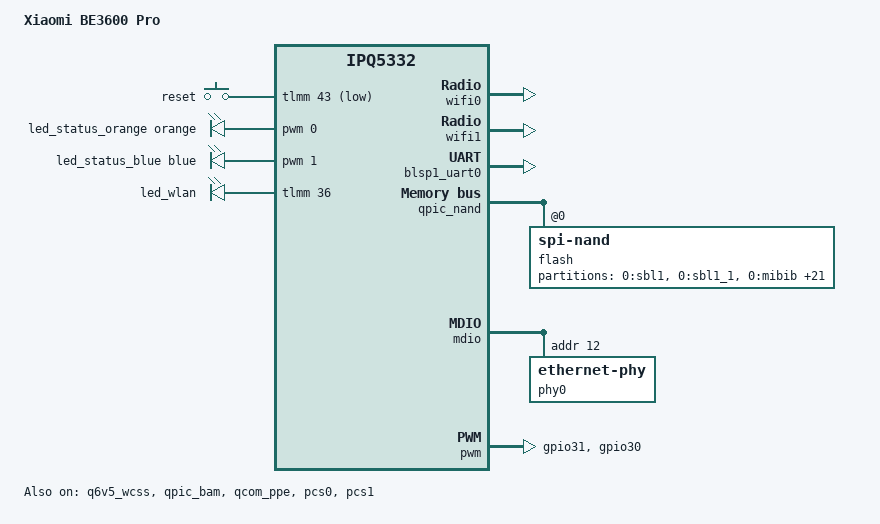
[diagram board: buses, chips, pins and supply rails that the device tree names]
// SPDX-License-Identifier: (GPL-2.0-or-later OR MIT)
/dts-v1/;

#include <arm64/qcom/ipq5332.dtsi>
#include <dt-bindings/gpio/gpio.h>
#include <dt-bindings/input/input.h>
#include <dt-bindings/leds/common.h>

/ {
	model = "Xiaomi BE3600 Pro";
	/* FIXME: "xiaomi,rn01" is the internal codename seen in the vendor DT's
	 * root compatible string. Confirm this is actually the compatible OpenWrt
	 * wants to ship (cf. naming used for other Xiaomi boards, e.g.
	 * "xiaomi,redmi-ax5400") before this lands anywhere upstream.
	 */
	compatible = "xiaomi,rn01", "qcom,ipq5332";

	aliases {
		serial0 = &blsp1_uart0;
	};

	chosen {
		bootargs = "console=ttyMSM0,115200n8";
		/*
		 * Xiaomi's u-boot sets "ubi.mtd=rootfs_1 root=mtd:ubi_rootfs
		 * rootfstype=squashfs cnss2.enable_mlo_support=1 rootwait" --
		 * "rootfs_1" is the vendor's B slot (override to OpenWrt's own
		 * "rootfs" volume), and "root=mtd:ubi_rootfs" is the vendor
		 * QSDK kernel's own non-mainline root= convention (confirmed
		 * live: mainline's do_mounts.c has no "mtd:" root device
		 * resolver at all -- boots with "Can't lookup blockdev" and
		 * panics). Mainline's own convention for a UBI-block-backed
		 * squashfs root, matching every other OpenWrt ipq5018/ipq50xx
		 * Xiaomi board (e.g. xiaomi_ax6000), is "root=/dev/ubiblockN_M"
		 * where M is the volume's index within the UBI device --
		 * "ubi_rootfs" is volume index 1 here (0 is "kernel"). The
		 * ubiblockN_M device node only gets created if explicitly
		 * requested via "ubi.block=N,M" (or the volume name) --
		 * confirmed live: without it, boot hangs forever on "Waiting
		 * for root device /dev/ubiblock0_1..." since nothing ever
		 * creates that node.
		 */
		bootargs-append = " ubi.mtd=rootfs ubi.block=0,ubi_rootfs root=/dev/ubiblock0_1 rootfstype=squashfs rootwait";
		stdout-path = "serial0:115200n8";
	};

	keys {
		compatible = "gpio-keys";

		pinctrl-0 = <&button_pins>;
		pinctrl-names = "default";

		button-reset {
			label = "reset";
			linux,code = <KEY_RESTART>;
			gpios = <&tlmm 43 GPIO_ACTIVE_LOW>;
			debounce-interval = <60>;
		};
	};

	/*
	 * Vendor DT models the status indicator as a single custom "pwm-rgb"
	 * node (soc/pwm-rgb) with two channels, group1/orange and
	 * group1/blue -- a bi-color LED, not a true 3-channel RGB LED and not
	 * a single white LED. Both channels are exposed here as standard
	 * "pwm-leds" children, reusing the PWM pin assignment (pwm0/pwm1 on
	 * gpio30/gpio31) already confirmed against the vendor's pwm_pinmux.
	 */
	pwmleds {
		compatible = "pwm-leds";

		led_status_orange: led-0 {
			function = LED_FUNCTION_STATUS;
			color = <LED_COLOR_ID_ORANGE>;
			pwms = <&pwm 0 1000000 0>;
			max-brightness = <255>;
		};

		led_status_blue: led-1 {
			function = LED_FUNCTION_STATUS;
			color = <LED_COLOR_ID_BLUE>;
			pwms = <&pwm 1 1000000 0>;
			max-brightness = <255>;
		};
	};

	/*
	 * Separate from the pwm-rgb status LED above: the vendor DT's main
	 * wifi radio node (soc/wifi@c0000000, compatible "qcom,ipq5332-wifi")
	 * carries its own "led-gpio" property for a WLAN activity indicator,
	 * driven directly off a TLMM GPIO rather than through the PWM block.
	 *
	 * Derived from the vendor DT: led-gpio = <0x0a 0x24 0x00>, where
	 * phandle 0x0a resolves to soc/pinctrl@1000000 (the tlmm gpio
	 * controller, "phandle = <0x0a>"), pin 0x24 = GPIO 36, flags 0x00 =
	 * active-high. Confirmed via /sys/firmware/devicetree/base on the
	 * live device (wifi@c0000000/led-gpio, independent of pwm-rgb).
	 */
	gpio-leds {
		compatible = "gpio-leds";

		led_wlan: led-2 {
			function = LED_FUNCTION_WLAN;
			gpios = <&tlmm 36 GPIO_ACTIVE_HIGH>;
		};
	};
};

/*
 * ipq5332.dtsi deliberately leaves xo_board's "clock-frequency" unset
 * (unlike cmn_pll_nss_*_clk, which hardcode a value) -- every real board
 * dts is expected to supply it. Missing this meant gcc_uniphy_sys_clk_src
 * (whose only parent is xo_board) could never compute a non-zero rate no
 * matter what assigned-clocks/clk_set_rate() did: recalc_rate() multiplies
 * by the parent rate, so parent=0 forces the result to 0 regardless of a
 * "successful" divider write -- confirmed live: clk_set_rate() returned 0
 * (success) but clk_get_rate() immediately after still read back 0.
 * Confirmed missing on this board by comparing against Qualcomm's own
 * reference boards (ipq5332-rdp-common.dtsi) and the other real in-tree
 * ipq5332 board (ipq5332-u7-pro-xgs.dts), both of which set this to 24MHz.
 */
&xo_board {
	clock-frequency = <24000000>;
};

/*
 * Same omission as xo_board above, and the same consequence: ipq5332.dtsi
 * declares sleep_clk as a "fixed-clock" with no "clock-frequency", and
 * _of_fixed_clk_setup() refuses to register such a clock at all, so every
 * descendant is left an orphan with rate 0. The PPE node itself consumes
 * one (gcc GCC_IM_SLEEP_CLK, clock-name "gcc_im_sleep"), and vendor's own
 * switch node lists gcc_im_sleep_clk too. Vendor's DT sets 32 kHz
 * (clock-frequency = <0x7d00>), as does ipq5332-u7-pro-xgs.dts.
 */
&sleep_clk {
	clock-frequency = <32000>;
};

/*
 * WiFi: q6v5_wcss / wifi0 (QCA5332, 2.4 GHz) / wifi1 (QCN6432, 5 GHz) and
 * their smp2p/memory-region plumbing are wired up in ipq5332.dtsi by the
 * "arm64: dts: qcom: ipq5332: add wcss multipd wifi" kernel patch. This
 * board file only needs to enable the two radio nodes and give each a
 * calibration-variant tag.
 *
 * Calibration data: ath12k's IPQ5332/hw1.0 hw_params (see
 * ATH12K_HW_IPQ5332_HW10 in ath12k's hw.c) expects a 256 KiB board-2.bin
 * with a 128 KiB cal data offset. Generic reference board-2.bin files for
 * this hardware generation already exist upstream in the linux-firmware
 * ath12k staging tree (IPQ5332/hw1.0 for wifi0, QCN6432/hw1.0 for wifi1);
 * those are used as the initial calibration source here. RN01-specific
 * calibration (extracted from the vendor's own board data / "0:art"
 * partition) is left as future work -- see the "0:art" partition on
 * &qpic_nand below, which almost certainly holds it on this board.
 */
&q6v5_wcss {
	status = "okay";
};

&wifi0 {
	qcom,calibration-variant = "RN01";
	status = "okay";
};

&wifi1 {
	qcom,calibration-variant = "RN01";
	status = "okay";
};

&blsp1_uart0 {
	pinctrl-0 = <&serial_0_pins>;
	pinctrl-names = "default";
	status = "okay";
};

/*
 * RN01's boot storage is a Winbond W25N01GWZEIG SPI NAND chip (128 MiB,
 * SLC, 1.8V), confirmed directly from a live vendor dmesg: "Manufacturer
 * ID: 0xef, Chip ID: 0xba" / "Winbond W25N01GWZEIG SPI NAND 1G 1.8V", and
 * corroborated by the vendor DT's own pinmux node for this controller
 * being named "qspi_nand_pins" (qspi_clk/qspi_cs) -- i.e. genuine QSPI
 * signals, not an 8-bit parallel NAND bus.
 *
 * This directly contradicts an earlier assumption made from the vendor
 * DT's "qcom,ipq5332-nand" compatible string alone (without the "-snand"
 * suffix mainline uses for the serial flavour), which led to wrongly
 * treating this as raw parallel NAND and adding a standalone
 * qpic_nand_raw/nand@79b0000 node + qcom_nandc.c raw-NAND driver compat
 * entry (former kernel patches 0380/0382, now removed). In fact:
 *  - Mainline ipq5332.dtsi already describes this exact controller as
 *    qpic_nand: spi@79b0000, compatible "qcom,ipq5332-snand" -- disabled
 *    by default, needing only status="okay" and a child flash node, no
 *    new devicetree node or driver patch required.
 *  - The Winbond W25N01GW (ID 0xba/0x21) is natively supported by
 *    mainline's generic drivers/mtd/nand/spi/winbond.c.
 *  - qcom,ipq5332-nand (without "-snand") was in fact never added to
 *    mainline's raw-NAND qcom,nandc.yaml compatible list for IPQ5332 at
 *    all -- the vendor's QSDK downstream kernel evidently reuses that
 *    compatible name for its own unified NAND driver that autodetects
 *    chip type at runtime, unrelated to mainline's raw/serial split.
 *
 * qpic_bam (the QPIC block's own dedicated BAM at 0x07984000, separate
 * from the shared BLSP1 BAM used by the on-chip UART/SPI/I2C peripherals)
 * already exists in mainline ipq5332.dtsi too, disabled by default.
 */
&qpic_bam {
	status = "okay";
};

&qpic_nand {
	status = "okay";

	flash@0 {
		compatible = "spi-nand";
		reg = <0>;
		#address-cells = <1>;
		#size-cells = <1>;
		nand-ecc-engine = <&qpic_nand>;
		nand-ecc-strength = <4>;
		nand-ecc-step-size = <512>;

		partitions {
			compatible = "fixed-partitions";
			#address-cells = <1>;
			#size-cells = <1>;

			partition@0 {
				label = "0:sbl1";
				reg = <0x0 0x100000>;
				read-only;
			};

			partition@100000 {
				label = "0:sbl1_1";
				reg = <0x100000 0x100000>;
				read-only;
			};

			partition@200000 {
				label = "0:mibib";
				reg = <0x200000 0x100000>;
				read-only;
			};

			partition@300000 {
				label = "0:bootconfig";
				reg = <0x300000 0x80000>;
				read-only;
			};

			partition@380000 {
				label = "0:bootconfig1";
				reg = <0x380000 0x80000>;
				read-only;
			};

			partition@400000 {
				label = "0:qsee";
				reg = <0x400000 0x200000>;
				read-only;
			};

			partition@600000 {
				label = "0:qsee_1";
				reg = <0x600000 0x200000>;
				read-only;
			};

			partition@800000 {
				label = "0:devcfg";
				reg = <0x800000 0x80000>;
				read-only;
			};

			partition@880000 {
				label = "0:devcfg_1";
				reg = <0x880000 0x80000>;
				read-only;
			};

			partition@900000 {
				label = "0:tme";
				reg = <0x900000 0x80000>;
				read-only;
			};

			partition@980000 {
				label = "0:tme_1";
				reg = <0x980000 0x80000>;
				read-only;
			};

			partition@a00000 {
				label = "0:cdt";
				reg = <0xa00000 0x80000>;
				read-only;
			};

			partition@a80000 {
				label = "0:cdt_1";
				reg = <0xa80000 0x80000>;
				read-only;
			};

			partition@b00000 {
				label = "0:appsblenv";
				reg = <0xb00000 0x80000>;
			};

			partition@b80000 {
				label = "0:appsbl";
				reg = <0xb80000 0x100000>;
				read-only;
			};

			partition@c80000 {
				label = "0:appsbl_1";
				reg = <0xc80000 0x100000>;
				read-only;
			};

			partition@d80000 {
				label = "0:training";
				reg = <0xd80000 0x80000>;
				read-only;
			};

			partition@e00000 {
				label = "0:art";
				reg = <0xe00000 0x200000>;
				read-only;

				/*
				 * MAC addresses live at the very start of "0:art",
				 * two consecutive 6-byte entries, matching the
				 * layout the same-vendor ipq5018 boards use
				 * (cf. ipq5018-ax6000.dts's macaddr@0/macaddr@6).
				 *
				 * Which entry belongs to which port was confirmed
				 * on real hardware rather than assumed: the first
				 * 16 bytes of /dev/mtdblock17 were read out and
				 * compared against the vendor devicetree's own
				 * per-port assignment. Offset 0x0 matches the MAC
				 * vendor gives "dp2" (qcom,id = <2>, the port
				 * carrying qcom,phy-mdio-addr = <0x0c>, i.e. WAN),
				 * and offset 0x6 matches the one vendor gives
				 * "dp1" (qcom,id = <1>, no phy, i.e. the YT9215S
				 * switch uplink / LAN). Note this is the opposite
				 * order from ipq5018-ax6000.dts, where offset 0 is
				 * the LAN MAC -- so it cannot be assumed, and was
				 * measured.
				 *
				 * A third MAC follows at offset 0xc (presumably
				 * WiFi); it is left undeclared until a radio
				 * actually needs it.
				 */
				nvmem-layout {
					compatible = "fixed-layout";
					#address-cells = <1>;
					#size-cells = <1>;

					mac_addr_wan: macaddr@0 {
						reg = <0x0 0x6>;
					};

					mac_addr_lan: macaddr@6 {
						reg = <0x6 0x6>;
					};
				};
			};

			partition@1000000 {
				label = "0:license";
				reg = <0x1000000 0x40000>;
				read-only;
			};

			partition@1040000 {
				label = "rootfs";
				reg = <0x1040000 0x2a00000>;
			};

			partition@3a40000 {
				label = "rootfs_1";
				reg = <0x3a40000 0x2a00000>;
			};

			partition@6440000 {
				label = "bdata";
				reg = <0x6440000 0x80000>;
			};

			partition@64c0000 {
				label = "crash";
				reg = <0x64c0000 0x80000>;
			};

			partition@6540000 {
				label = "overlay";
				reg = <0x6540000 0x1ac0000>;
			};
		};
	};
};

&mdio {
	status = "okay";

	/*
	 * RN01/IPQ5332 finding (Opus second-opinion consult, confirmed via
	 * /sys/kernel/debug/gpio hardware register readback, not the
	 * pinctrl-msm software-bookkeeping pinmux-pins file which always
	 * matches regardless): on vendor's *working* kernel, gpio25 reads
	 * back func0 (=gpio, the TLMM convention where function index 0 is
	 * always plain GPIO) -- NOT mdc0. Vendor's own driver claims gpio25
	 * as a plain GPIO for the PHY reset line and *never* switches it
	 * back to the mdc0 alt-function. So the real, physically-wired MDIO
	 * bus on this board is mdc1/mdio1 (gpio27/28) -- mdio0_pins
	 * (gpio25/26 as mdc0/mdio0) is reference-design copy-paste that this
	 * board never actually uses for MDIO signalling. The earlier
	 * pulse-then-revert-to-"default" approach (§10.13,
	 * 0393-net-mdio-ipq4019-add-optional-pinmux-shared-phy-reset.patch)
	 * was necessarily wrong: reverting to "default" re-attaches gpio25
	 * to mdc0, which then clocks straight into the PHY's reset pin on
	 * every MDIO transaction. Fix: hold gpio25 as a plain GPIO
	 * permanently via the mdio0_pins override below (mirroring vendor's
	 * measured "out high" / 4mA / pull-up), never touch it again.
	 */

	/*
	 * Both real PHYs sit on this bus (vendor DT: ethernet-phy@0 reg=0x0c,
	 * ethernet-phy@1 reg=0x07). pinctrl-0 is left at the ipq5332.dtsi
	 * default (mdio0_pins + mdio1_pins), which already covers both.
	 *
	 * Tried the vendor DT's own "phy-reset-gpio = <&tlmm 25 0>" (gpio25)
	 * as mainline's *per-child* "reset-gpios" (on the ethernet-phy@c
	 * node) first -- confirmed live this is wrong: gpio25 is also muxed
	 * to the mdc0 (MDIO clock 0) function in mdio0_pins, and that
	 * per-child path (of_mdiobus_register_phy(), in drivers/net/mdio/
	 * of_mdio.c) grabs the pin as a raw GPIO before pinctrl can apply the
	 * mdc0 default state, breaking MDIO bus registration entirely ("pin
	 * GPIO_25 already requested by 90000.mdio; cannot claim for
	 * 1000000.pinctrl", "Cannot register MDIO bus!"). Reverted at the
	 * time.
	 *
	 * Since then, confirmed via a saved *vendor Linux* UART log (not just
	 * U-Boot) that vendor's own qca-mdio driver does "Reset PHY by GPIO
	 * 484" (= this same &tlmm 25 pin) on every single boot as a normal
	 * part of bring-up -- so a GPIO reset pulse is genuinely needed by
	 * Linux, not just cosmetic; U-Boot's plain ID read succeeding without
	 * it doesn't mean a full soft-reset handshake doesn't need it too.
	 *
	 * A working, mainline-clean fix for this exact pin-sharing conflict
	 * (pinctrl_select_state() to a temporary "gpio" state around the
	 * pulse, avoiding pinctrl-msm.c's `.strict` ownership check entirely)
	 * was written and confirmed live -- see the not-yet-committed
	 * `0393-net-mdio-ipq4019-add-optional-pinmux-shared-phy-reset.patch`
	 * kept alongside this tree. It's held back from this commit because,
	 * even with the mechanism working exactly as designed (pinctrl state
	 * switches cleanly, GPIO pulsed, no ownership conflict), it does not
	 * actually fix Ethernet: `phy_poll_reset failed: -110` still happens
	 * identically. See PORTING.md §10.13/§10.14 for the full
	 * investigation, including the (also real, but likewise insufficient
	 * on its own) `xo_board` clock fix below. Re-add both the patch and
	 * this devicetree wiring together once the actual root cause is
	 * found and one of them turns out to matter.
	 */

	/*
	 * phy0 (WAN, 2500base-x) is confirmed to be a Qualcomm QCA8081 --
	 * IEEE PHY ID 0x004dd101, matching U-Boot's own "PHY ID1: 0x4d /
	 * PHY ID2: 0xd101" -- and PHY_ID_MATCH_EXACT(0x004dd101) is right
	 * there in mainline's drivers/net/phy/qcom/qca808x.c. Explicit
	 * standard-IEEE compatible string added to match, mirroring the
	 * working ipq5018-ax6000.dts qca8081 node -- without it, phylib's
	 * plain Clause-22 MDIO scan finds nothing at this address.
	 */
	phy0: ethernet-phy@c {
		/*
		 * Forced-compatible override removed for this test: a clean
		 * generic Clause-22 MDIO scan finding the PHY here is the
		 * unambiguous pass signal for the gpio25-as-permanent-GPIO fix.
		 */
		reg = <0x0c>;
	};

};

/*
 * Override ipq5332.dtsi's mdio0_pins: hold gpio25 as a plain GPIO
 * (not mdc0) permanently, matching vendor's measured hardware state
 * exactly (func0/4mA/pull-up). gpio26 stays the mdio0 data line but at
 * vendor's measured 4mA (was the dtsi default of 8mA).
 */
&mdio0_pins {
	mux_0 {
		function = "gpio";
		drive-strength = <4>;
		bias-pull-up;
	};

	mux_1 {
		drive-strength = <4>;
	};
};

/*
 * Override ipq5332.dtsi's mdio1_pins to match vendor's measured
 * electrical values on the real MDIO bus (gpio27/28): 4mA instead of the
 * dtsi default 8mA, and mdc1 (gpio27) pulled up instead of bias-disable.
 */
&mdio1_pins {
	mux_0 {
		drive-strength = <4>;
		bias-pull-up;
	};

	mux_1 {
		drive-strength = <4>;
	};
};

&qcom_ppe {
	status = "okay";

	ethernet-ports {
		#address-cells = <1>;
		#size-cells = <0>;

		/*
		 * LAN: the YT9215S switch uplink. Vendor's own DT puts the
		 * PHY-less, forced-2500M link on PPE port 1
		 * (qcom,port_phyinfo/port@0: port_id=<1>, forced-speed=<0x9c4>,
		 * forced-duplex=<1>, and no phy_address), and marks port 1 as
		 * LAN (switch_lan_bmp=<0x02> = BIT(1)). Both uniphys are set to
		 * the same mac_mode (switch_mac_mode = switch_mac_mode1 =
		 * <0x0c>), so both links run at the same 2.5G rate -- hence
		 * 2500base-x with a 2500M fixed-link, not sgmii/1000M.
		 */
		port@1 {
			reg = <1>;
			phy-mode = "2500base-x";
			label = "lan";
			pcs-handle = <&pcs0_ch0>;
			nvmem-cells = <&mac_addr_lan 0>;
			nvmem-cell-names = "mac-address";
			clocks = <&nsscc NSS_CC_PORT1_MAC_CLK>,
				 <&nsscc NSS_CC_PORT1_RX_CLK>,
				 <&nsscc NSS_CC_PORT1_TX_CLK>;
			clock-names = "mac",
				      "rx",
				      "tx";
			resets = <&nsscc NSS_CC_PORT1_MAC_CLK_ARES>,
				 <&nsscc NSS_CC_PORT1_RX_CLK_ARES>,
				 <&nsscc NSS_CC_PORT1_TX_CLK_ARES>;
			reset-names = "mac",
				      "rx",
				      "tx";

			fixed-link {
				speed = <2500>;
				full-duplex;
			};
		};

		/*
		 * WAN: the QCA8081 at mdio address 0x0c. Vendor's DT attaches
		 * it to PPE port 2, not port 1 (qcom,port_phyinfo/port@1:
		 * port_id=<2>, phy_address=<0x0c>, sec_phy_address=<0x07>), and
		 * marks port 2 as WAN (switch_wan_bmp=<0x04> = BIT(2)). The
		 * vendor's nss-dp netdevs agree: dp2 (qcom,id=<2>) is the one
		 * carrying qcom,phy-mdio-addr=<0x0c> and qcom,link-poll=<1>,
		 * while dp1 (qcom,id=<1>) has no phy and no link polling.
		 *
		 * Note the device at mdio address 0x07 is not a plain PHY --
		 * confirmed live via U-Boot (mii read 0x7 0/2/3 all return
		 * 0xffff, not a valid Clause-22 response): it is the Motorcomm
		 * YT9215S managed switch ("YT9215S init done" in every boot's
		 * U-Boot log; vendor kallsyms show a dedicated yt_switch.ko with
		 * its own miwifi_mdio_read/write). Vendor lists it here only as
		 * sec_phy_address; mainline has no driver for it, so it is left
		 * out and the switch uplink is described by port@1's fixed-link.
		 */
		port@2 {
			reg = <2>;
			phy-mode = "2500base-x";
			label = "wan";
			phy-handle = <&phy0>;
			pcs-handle = <&pcs1_ch0>;
			nvmem-cells = <&mac_addr_wan 0>;
			nvmem-cell-names = "mac-address";
			clocks = <&nsscc NSS_CC_PORT2_MAC_CLK>,
				 <&nsscc NSS_CC_PORT2_RX_CLK>,
				 <&nsscc NSS_CC_PORT2_TX_CLK>;
			clock-names = "mac",
				      "rx",
				      "tx";
			resets = <&nsscc NSS_CC_PORT2_MAC_CLK_ARES>,
				 <&nsscc NSS_CC_PORT2_RX_CLK_ARES>,
				 <&nsscc NSS_CC_PORT2_TX_CLK_ARES>;
			reset-names = "mac",
				      "rx",
				      "tx";
		};
	};
};

/*
 * gcc_uniphy_sys_clk_src (the shared parent of GCC_UNIPHY0/1_SYS_CLK,
 * which pcs0/pcs1 consume below) is a clk_rcg2 with a single-entry
 * frequency table (24MHz off XO) -- it does not self-initialize, and
 * nothing else assigns it a rate. Confirmed live via clk_rate debugfs
 * (not just clk_summary, which mis-renders in the wrapped serial
 * terminal): both uniphy0_sys_clk and uniphy1_sys_clk read enabled but
 * stuck at rate=0. Two placements tried (on &gcc itself, then here on
 * pcs0/pcs1), neither changed the readback. Traced why: of_clk_set_defaults()
 * IS reached both ways (confirmed by reading drivers/base/platform.c and
 * drivers/clk/clk-conf.c live in the pinned 6.18.44 tree -- the
 * clk_supplier=false self-reference skip in __set_clk_rates() only
 * triggers when the *assigned-clocks target itself* is the same node the
 * property lives on, which isn't our case here), so the no-op is still
 * unexplained. Likely a red herring for the actual PHY problem anyway:
 * pcs-qcom-ipq9574.c's own probe only does devm_clk_get_enabled() on
 * "sys"/"ahb" (gate, no rate-set), and its real per-link rx/tx rate-setting
 * (ipq_pcs_mii_clk_set_rate(), added by the 0371 patch) is a completely
 * separate mechanism keyed off negotiated link speed, not this clock.
 * Left in place since it's harmless, but not expected to matter.
 */
&pcs0 {
	status = "okay";
	assigned-clocks = <&gcc GCC_UNIPHY_SYS_CLK_SRC>;
	assigned-clock-rates = <24000000>;
};

&pcs1 {
	status = "okay";
	assigned-clocks = <&gcc GCC_UNIPHY_SYS_CLK_SRC>;
	assigned-clock-rates = <24000000>;
};

&pwm {
	pinctrl-0 = <&pwm_pins>;
	pinctrl-names = "default";
	status = "okay";
};

&tlmm {
	button_pins: button-state {
		reset-pins {
			pins = "gpio43";
			function = "gpio";
			drive-strength = <8>;
			bias-pull-up;
		};
	};

	pwm_pins: pwm-state {
		pwm1-pins {
			pins = "gpio31";
			function = "pwm1";
			drive-strength = <8>;
		};

		pwm2-pins {
			pins = "gpio30";
			function = "pwm2";
			drive-strength = <8>;
		};
	};
};
